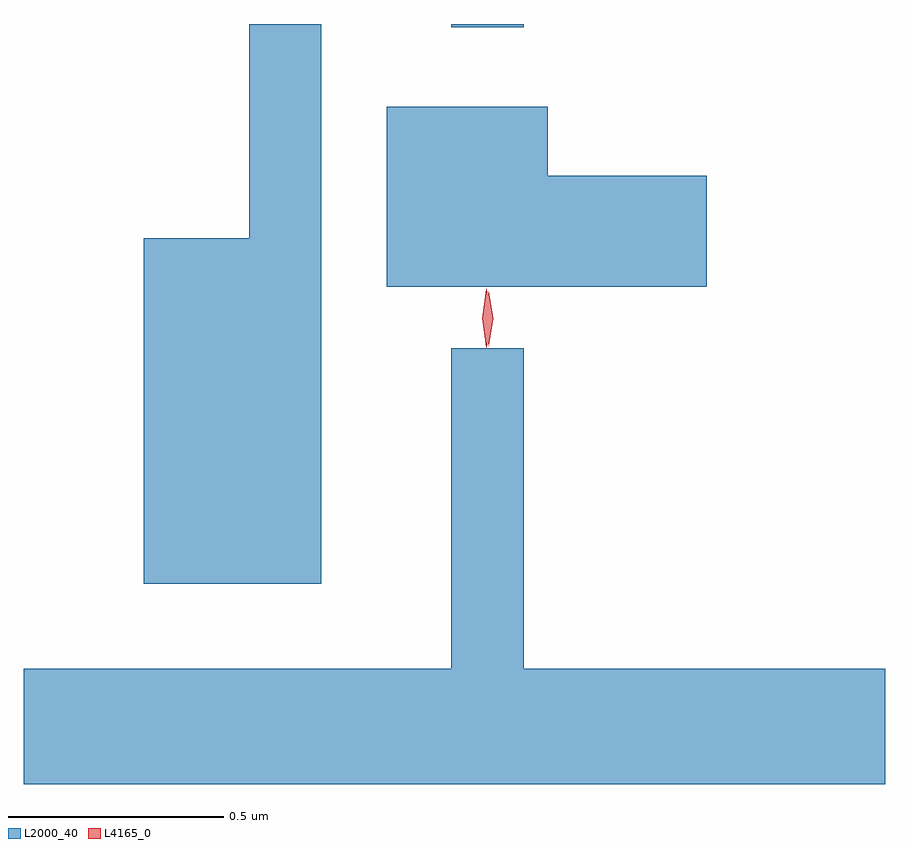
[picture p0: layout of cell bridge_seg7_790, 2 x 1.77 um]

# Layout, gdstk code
import gdstk
lib = gdstk.Library(unit=1e-6, precision=1e-09)
def R(c, l, rs):  # rectangles x0, y0, x1, y1
    for r in rs: c.add(gdstk.rectangle(r[:2], r[2:], *l))
def P(c, l, *ps):  # polygons
    for p in ps: c.add(gdstk.Polygon(p, *l))
L2000_40 = (2000, 40)
L4165_0 = (4165, 0)

bridge_seg7_790 = lib.new_cell('bridge_seg7_790')
R(bridge_seg7_790, L2000_40, [(465.391,1804.873,465.559,1804.881)])
P(bridge_seg7_790, L2000_40, [(465.089,1804.881),(464.921,1804.881),(464.921,1804.384),(464.676,1804.384),(464.676,1803.581),(465.089,1803.581)],
  [(465.984,1804.529),(465.614,1804.529),(465.614,1804.689),(465.241,1804.689),(465.241,1804.271),(465.984,1804.271)],
  [(466.398,1803.384),(465.559,1803.384),(465.559,1804.128),(465.391,1804.128),(465.391,1803.384),(464.398,1803.384),(464.398,1803.116),(466.398,1803.116)])
P(bridge_seg7_790, L4165_0, [(465.472,1804.13),(465.463,1804.198),(465.472,1804.265),(465.472,1804.266),(465.473,1804.265),(465.482,1804.198),(465.473,1804.13),(465.473,1804.13)],
  [(465.478,1804.133),(465.477,1804.134),(465.468,1804.196),(465.477,1804.26),(465.478,1804.26),(465.478,1804.26),(465.488,1804.196),(465.478,1804.134)])

lib.write_gds('bridge_seg7_790.gds')
